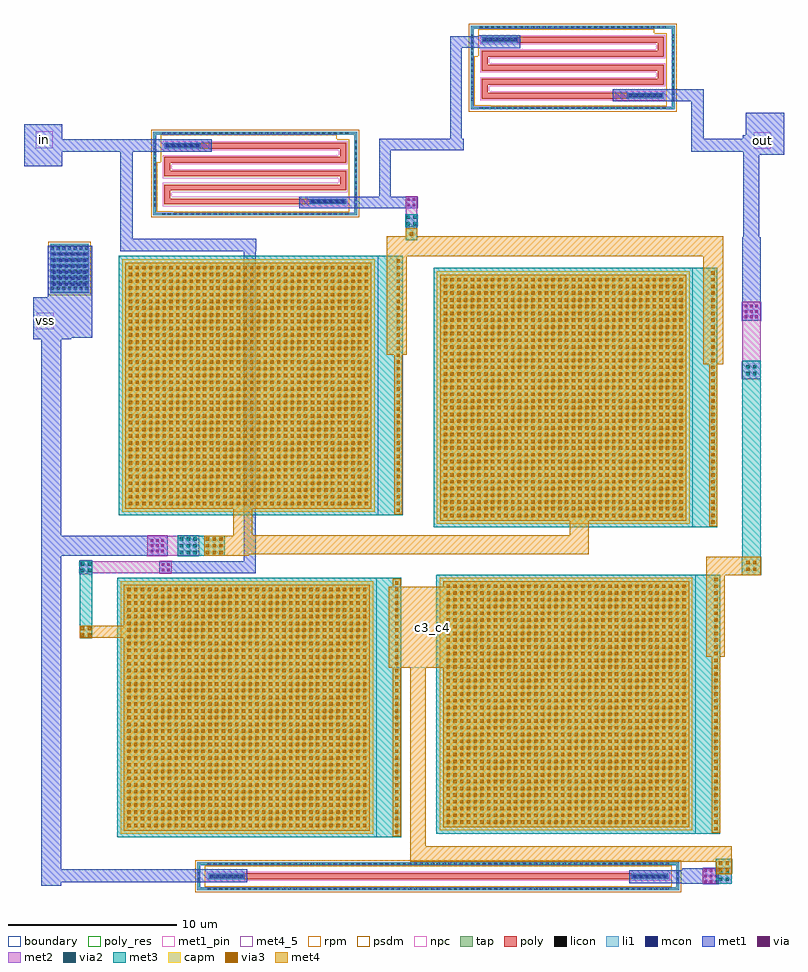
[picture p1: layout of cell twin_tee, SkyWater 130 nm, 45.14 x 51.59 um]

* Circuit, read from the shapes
.subckt twin_tee c3_c4 in out vss
XC1 in c3_c4 sky130_fd_pr__cap_mim_m3_1 w=15 l=15
XC2 vss n1 sky130_fd_pr__cap_mim_m3_1 w=15 l=15 m=2
XC3 c3_c4 out sky130_fd_pr__cap_mim_m3_1 w=15 l=15
XR4 n1 in vss sky130_fd_pr__res_high_po w=0.35 l=51.64
XR5 c3_c4 vss vss sky130_fd_pr__res_high_po w=0.35 l=23.04
XR6 out n1 vss sky130_fd_pr__res_high_po w=0.35 l=51.64
.ends

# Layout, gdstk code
from math import pi, radians
import gdstk
lib = gdstk.Library(unit=1e-6, precision=1e-09)
def R(c, l, rs):  # rectangles x0, y0, x1, y1
    for r in rs: c.add(gdstk.rectangle(r[:2], r[2:], *l))
def A(c, l, x, y, w, h, nx, ny, dx, dy):  # array of equal rectangles
    R(c, l, [(x+i*dx, y+j*dy, x+i*dx+w, y+j*dy+h) for i in range(nx) for j in range(ny)])
tap = (65, 44)
poly_res = (66, 13)
poly = (66, 20)
licon = (66, 44)
li1 = (67, 20)
mcon = (67, 44)
met1_pin = (68, 16)
met1 = (68, 20)
via = (68, 44)
met2 = (69, 20)
via2 = (69, 44)
met3 = (70, 20)
via3 = (70, 44)
met4_5 = (71, 5)
met4 = (71, 20)
rpm = (86, 20)
capm = (89, 44)
psdm = (94, 20)
npc = (95, 20)
boundary = (235, 4)

sky130_fd_pr__res_high_p = lib.new_cell('sky130_fd_pr__res_high_po_0p35_4P6F7P')
R(sky130_fd_pr__res_high_p, tap, [(-0.825,-14.31,0.825,-14.14), (-0.825,-14.14,-0.655,14.14), (0.655,-14.14,0.825,14.14), (-0.825,14.14,0.825,14.31)])
R(sky130_fd_pr__res_high_p, poly_res, [(-0.175,-11.58,0.175,11.58)])
R(sky130_fd_pr__res_high_p, poly, [(-0.175,-13.66,0.175,13.66)])
A(sky130_fd_pr__res_high_p, licon, -0.825, -13.685, 0.17, 0.17, 1, 81, 0, 0.34)
A(sky130_fd_pr__res_high_p, licon, 0.655, -13.685, 0.17, 0.17, 1, 81, 0, 0.34)
R(sky130_fd_pr__res_high_p, licon, [(-0.255,-14.31,-0.085,-14.14), (0.085,-14.31,0.255,-14.14), (-0.095,-13.58,0.095,-11.58), (-0.095,11.58,0.095,13.58), (-0.255,14.14,-0.085,14.31), (0.085,14.14,0.255,14.31)])
R(sky130_fd_pr__res_high_p, li1, [(-0.825,-14.31,0.825,-14.14), (-0.825,-14.14,-0.655,14.14), (0.655,-14.14,0.825,14.14), (-0.175,-13.66,0.175,-11.5), (-0.175,11.5,0.175,13.66), (-0.825,14.14,0.825,14.31)])
A(sky130_fd_pr__res_high_p, mcon, -0.085, -13.565, 0.17, 0.17, 1, 6, 0, 0.36)
A(sky130_fd_pr__res_high_p, mcon, -0.085, 11.59, 0.17, 0.17, 1, 6, 0, 0.36)
R(sky130_fd_pr__res_high_p, met1, [(-0.125,-13.63,0.125,-11.525), (-0.125,11.525,0.125,13.63)])
R(sky130_fd_pr__res_high_p, rpm, [(-0.635,-13.86,0.635,13.86)])
R(sky130_fd_pr__res_high_p, psdm, [(-0.95,-14.435,0.95,14.435)])
R(sky130_fd_pr__res_high_p, npc, [(-0.27,-13.755,0.27,13.755)])
R(sky130_fd_pr__res_high_p, boundary, [(-0.74,-14.225,0.74,14.225)])

sky130_fd_pr__cap_mim_m3 = lib.new_cell('sky130_fd_pr__cap_mim_m3_1_MRZGNS')
R(sky130_fd_pr__cap_mim_m3, met3, [(-8.43,-7.7,8.43,7.7)])
A(sky130_fd_pr__cap_mim_m3, via3, 8.07, -7.5, 0.2, 0.2, 1, 38, 0, 0.4)
A(sky130_fd_pr__cap_mim_m3, via3, -7.83, -7.1, 0.2, 0.2, 36, 36, 0.4, 0.4)
R(sky130_fd_pr__cap_mim_m3, met4, [(7.93,-7.64,8.41,7.64), (-8.035,-7.305,6.575,7.305)])
R(sky130_fd_pr__cap_mim_m3, capm, [(-8.23,-7.5,6.77,7.5)])
R(sky130_fd_pr__cap_mim_m3, boundary, [(-8.43,-7.7,6.97,7.7)])

c_sky130_fd_pr__res_high_p = lib.new_cell('sky130_fd_pr__res_high_po_0p35_EMSEB3')
R(c_sky130_fd_pr__res_high_p, tap, [(-2.485,-6.05,2.485,-5.88), (-2.485,-5.88,-2.315,5.88), (2.315,-5.88,2.485,5.88), (-2.485,5.88,2.485,6.05)])
A(c_sky130_fd_pr__res_high_p, poly_res, -1.005, -5.05, 0.35, 10.1, 3, 1, 0.83, 0)
R(c_sky130_fd_pr__res_high_p, poly_res, [(-1.005,-5.4,0.175,-5.05), (0.655,-5.4,1.835,-5.05), (1.485,-5.05,1.835,3.32), (-1.835,-3.32,-1.485,5.05), (-1.835,5.05,-0.655,5.4), (-0.175,5.05,1.005,5.4)])
A(c_sky130_fd_pr__res_high_p, poly, -1.005, -5.05, 0.35, 10.1, 3, 1, 0.83, 0)
R(c_sky130_fd_pr__res_high_p, poly, [(-1.835,-5.4,-1.485,5.05), (-1.005,-5.4,0.175,-5.05), (0.655,-5.4,1.835,-5.05), (1.485,-5.05,1.835,5.4), (-1.835,5.05,-0.655,5.4), (-0.175,5.05,1.005,5.4)])
A(c_sky130_fd_pr__res_high_p, licon, -1.955, -6.05, 0.17, 0.17, 12, 2, 0.34, 11.93)
A(c_sky130_fd_pr__res_high_p, licon, -2.485, -5.525, 0.17, 0.17, 1, 33, 0, 0.34)
A(c_sky130_fd_pr__res_high_p, licon, 2.315, -5.525, 0.17, 0.17, 1, 33, 0, 0.34)
R(c_sky130_fd_pr__res_high_p, licon, [(-1.755,-5.32,-1.565,-3.32), (1.565,3.32,1.755,5.32)])
R(c_sky130_fd_pr__res_high_p, li1, [(-2.485,-6.05,2.485,-5.88), (-2.485,-5.88,-2.315,5.88), (2.315,-5.88,2.485,5.88), (-1.835,-5.4,-1.485,-3.24), (1.485,3.24,1.835,5.4), (-2.485,5.88,2.485,6.05)])
R(c_sky130_fd_pr__res_high_p, rpm, [(-0.675,-5.86,2.255,-5.6), (-2.295,-5.6,2.255,-4.85), (-2.295,-4.85,2.295,4.85), (-2.035,4.85,2.295,5.6)])
R(c_sky130_fd_pr__res_high_p, psdm, [(-2.61,-6.175,2.61,6.175)])
A(c_sky130_fd_pr__res_high_p, npc, -1.1, -4.955, 0.54, 9.91, 3, 1, 0.83, 0)
R(c_sky130_fd_pr__res_high_p, npc, [(-1.93,-5.495,-1.39,4.955), (-1.1,-5.495,0.27,-4.955), (0.56,-5.495,1.93,-4.955), (1.39,-4.955,1.93,5.495), (-1.93,4.955,-0.56,5.495), (-0.27,4.955,1.1,5.495)])
R(c_sky130_fd_pr__res_high_p, boundary, [(-2.4,-5.965,2.4,5.965)])

twin_tee = lib.new_cell('twin_tee')
R(twin_tee, tap, [(-2.28,16.46,0.01,19.39)])
A(twin_tee, licon, -2.24, 16.65, 0.17, 0.17, 7, 8, 0.34, 0.34)
R(twin_tee, li1, [(-2.28,16.5,0.01,19.35), (13.13,21.72,15.29,22.07), (4.49,25.04,6.65,25.39), (31.99,28.01,34.15,28.36), (23.35,31.33,25.51,31.68)])
A(twin_tee, mcon, -2.12, 16.89, 0.17, 0.17, 6, 6, 0.36, 0.36)
A(twin_tee, mcon, 13.225, 21.81, 0.17, 0.17, 6, 1, 0.36, 0)
A(twin_tee, mcon, 4.585, 25.13, 0.17, 0.17, 6, 1, 0.36, 0)
A(twin_tee, mcon, 32.085, 28.1, 0.17, 0.17, 6, 1, 0.36, 0)
A(twin_tee, mcon, 23.445, 31.42, 0.17, 0.17, 6, 1, 0.36, 0)
R(twin_tee, met1_pin, [(-3.08,14.3,-2.08,15.3), (39.51,25.02,40.51,26.02), (-3.13,25.06,-2.13,26.06)])
R(twin_tee, met1, [(-2.81,-18.755,-1.62,-18.535), (36.5,-18.65,37.42,-18.62), (35.25,-18.62,37.42,-18.6), (32.1,-18.6,37.42,-17.82), (-2.81,-18.535,9.415,-17.78), (35.25,-17.82,37.42,-17.7), (-2.81,-17.78,-1.62,0.855), (36.5,-17.7,37.42,-17.67), (4.18,-0.19,9.93,0.53), (9.21,0.53,9.93,18.95), (-1.08,0.85,2,0.855), (-2.81,0.855,4.705,2.045), (-2.81,2.045,-1.62,13.7), (-3.3,13.7,-1.03,13.8), (-3.3,13.8,0.21,16.21), (38.78,14.82,39.94,15.92), (38.81,15.92,39.91,19.76), (-2.43,16.21,0.21,19.27), (1.88,18.95,9.94,19.69), (1.88,19.69,2.62,24.84), (38.89,19.76,39.835,24.66), (12.52,21.5,19.54,22.18), (17.25,22.18,17.93,24.93), (-3.84,23.98,-1.57,24.84), (38.89,24.66,41.3,24.855), (-3.84,24.84,7.3,25.58), (35.79,24.855,41.3,25.615), (17.25,24.93,22.27,25.61), (-3.84,25.58,-1.57,26.49), (21.49,25.61,22.17,31.03), (35.805,25.615,36.54,27.84), (38.85,25.615,41.3,25.815), (39.03,25.815,41.3,27.17), (31.125,27.84,36.54,28.575), (23.21,31.01,25.64,31.03), (21.49,31.03,25.64,31.71), (23.21,31.71,25.64,31.76)])
A(twin_tee, via, 36.565, -18.555, 0.15, 0.15, 3, 3, 0.32, 0.32)
A(twin_tee, via, 3.685, 1.055, 0.15, 0.15, 3, 3, 0.32, 0.32)
A(twin_tee, via, 38.965, 14.975, 0.15, 0.15, 3, 3, 0.32, 0.32)
R(twin_tee, via, [(4.335,-0.065,4.485,0.085), (4.655,-0.065,4.805,0.085), (4.335,0.255,4.485,0.405), (4.655,0.255,4.805,0.405), (18.935,21.605,19.085,21.755), (19.255,21.605,19.405,21.755), (18.935,21.925,19.085,22.075), (19.255,21.925,19.405,22.075)])
R(twin_tee, met2, [(36.47,-18.62,38.19,-18.595), (36.47,-18.595,38.21,-17.725), (36.47,-17.725,38.19,-17.7), (-0.52,-0.235,0.2,-0.19), (4.21,-0.22,4.93,-0.19), (-0.52,-0.19,4.93,0.53), (-0.52,0.53,0.2,0.575), (4.21,0.53,4.93,0.56), (3.485,0.825,4.675,0.855), (3.485,0.855,6.56,2.045), (3.485,2.045,4.675,2.075), (38.81,11.33,39.91,11.355), (38.79,11.355,39.93,12.405), (38.81,12.405,39.91,15.95), (18.83,20.375,19.51,22.21)])
A(twin_tee, via2, 5.42, 0.95, 0.2, 0.2, 3, 3, 0.4, 0.4)
R(twin_tee, via2, [(37.43,-18.46,37.63,-18.26), (37.83,-18.46,38.03,-18.26), (37.43,-18.06,37.63,-17.86), (37.83,-18.06,38.03,-17.86), (-0.46,-0.13,-0.26,0.07), (-0.06,-0.13,0.14,0.07), (-0.46,0.27,-0.26,0.47), (-0.06,0.27,0.14,0.47), (39.06,11.58,39.26,11.78), (39.46,11.58,39.66,11.78), (39.06,11.98,39.26,12.18), (39.46,11.98,39.66,12.18), (18.87,20.46,19.07,20.66), (19.27,20.46,19.47,20.66), (18.87,20.86,19.07,21.06), (19.27,20.86,19.47,21.06)])
R(twin_tee, met3, [(37.27,-18.62,38.19,-18.045), (37.245,-18.045,38.215,-17.135), (37.27,-17.135,38.19,-17.13), (-0.52,-4.05,0.2,-0.215), (38.81,-0.3,39.91,-0.295), (38.785,-0.295,39.935,0.795), (-0.545,-0.215,0.225,0.555), (38.81,0.795,39.91,12.43), (5.3,0.83,6.54,0.855), (5.3,0.855,8.085,2.045), (5.3,2.045,6.54,2.07), (18.83,19.6,19.51,20.395), (18.805,20.395,19.535,21.125)])
A(twin_tee, via3, 6.96, 0.95, 0.2, 0.2, 3, 3, 0.4, 0.4)
R(twin_tee, via3, [(37.43,-17.89,37.63,-17.69), (37.83,-17.89,38.03,-17.69), (37.43,-17.49,37.63,-17.29), (37.83,-17.49,38.03,-17.29), (-0.46,-3.96,-0.26,-3.76), (-0.06,-3.96,0.14,-3.76), (-0.46,-3.56,-0.26,-3.36), (-0.06,-3.56,0.14,-3.36), (39.06,-0.05,39.26,0.15), (39.46,-0.05,39.66,0.15), (39.06,0.35,39.26,0.55), (39.46,0.35,39.66,0.55), (19.07,19.87,19.27,20.07)])
R(twin_tee, met4_5, [(17.82,-5.79,23.08,-0.98)])
R(twin_tee, met4, [(37.27,-18.05,38.19,-17.33), (19.1,-17.33,38.19,-16.41), (19.1,-16.41,20.02,-5.79), (17.82,-5.79,23.08,-0.98), (36.67,-5.14,37.77,-0.3), (-0.525,-4.025,0.205,-4.02), (-0.525,-4.02,5.14,-3.3), (-0.525,-3.3,0.205,-3.295), (36.67,-0.3,39.91,0.8), (6.86,0.85,8.06,0.855), (6.86,0.855,9.505,0.955), (6.86,0.955,29.705,2.045), (6.86,2.045,8.06,2.05), (8.58,2.045,29.705,2.085), (8.58,2.085,9.71,9.66), (28.575,2.085,29.705,11.115), (36.5,12.24,37.68,18.64), (17.71,12.8,18.89,18.64), (17.71,18.64,37.68,19.82), (18.825,19.82,19.515,20.315)])
R(twin_tee, psdm, [(-2.405,16.335,0.135,19.515)])
twin_tee.add(gdstk.Reference(sky130_fd_pr__res_high_p, (20.77,-18.185), rotation=3*pi/2))
twin_tee.add(gdstk.Reference(sky130_fd_pr__cap_mim_m3, (29.09,-7.96)))
twin_tee.add(gdstk.Reference(sky130_fd_pr__cap_mim_m3, (10.13,-8.16)))
twin_tee.add(gdstk.Reference(sky130_fd_pr__cap_mim_m3, (28.92,10.25)))
twin_tee.add(gdstk.Reference(sky130_fd_pr__cap_mim_m3, (10.22,10.96)))
twin_tee.add(gdstk.Reference(c_sky130_fd_pr__res_high_p, (9.89,23.555), rotation=3*pi/2))
twin_tee.add(gdstk.Reference(c_sky130_fd_pr__res_high_p, (28.75,29.845), rotation=3*pi/2))
twin_tee.add(gdstk.Label('c3_c4', (20.45,-3.385), layer=71, texttype=5))
twin_tee.add(gdstk.Label('vss', (-2.58,14.8), layer=68, texttype=5))
twin_tee.add(gdstk.Label('out', (40.01,25.52), layer=68, texttype=5))
twin_tee.add(gdstk.Label('in', (-2.63,25.56), layer=68, texttype=5))

lib.write_gds('twin_tee.gds')
